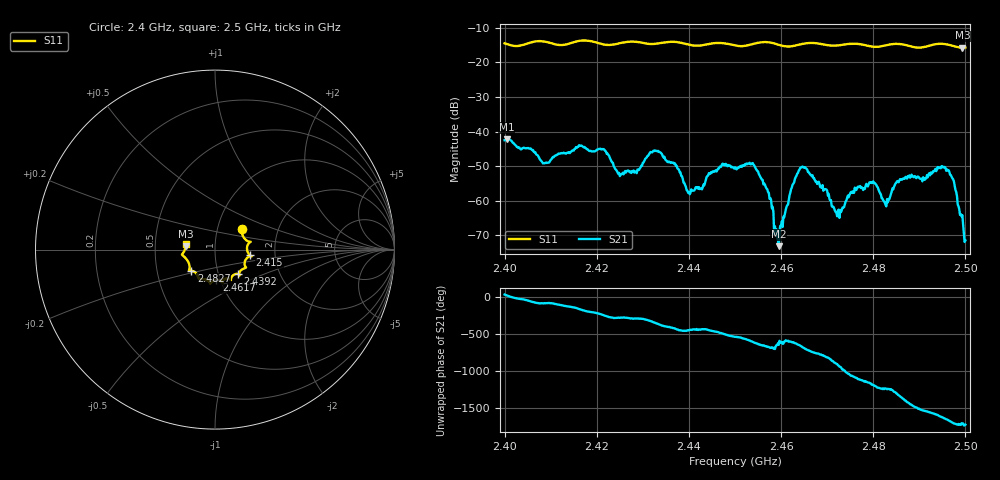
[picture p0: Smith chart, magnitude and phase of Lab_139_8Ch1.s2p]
# Hz S RI R 50
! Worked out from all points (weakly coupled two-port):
!   601 points, 2.4 GHz to 2.5 GHz, reference 50 ohm
!   highest |S21| = -42.20 dB at 2.4005 GHz (marker M1); lowest = -73.1 dB at 2.4595 GHz (marker M2)
!   lowest |S11| = -15.7 dB at 2.4993 GHz (marker M3), VSWR 1.39, Z = 36 + j1.45 ohm
!   |S11| at or under -10 dB: start of sweep to end of sweep
!   S12 and S22 are empty: the file has one direction only
!   S11 on the Smith chart (normalised r, x): 2.4 GHz: 1.31, +0.31; 2.415 GHz: 1.48, -0.10; 2.4392 GHz: 1.24, -0.35; 2.4617 GHz: 0.96, -0.34; 2.4827 GHz: 0.75, -0.18; 2.5 GHz: 0.72, +0.05
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2.4e9  0.1502 0.1149  0.0065 0.00375  0 0  0 0
2.4005e9  0.1499 0.1082  0.00738 0.0024  0 0  0 0
2.408667e9  0.1964 0.0424  0.00025 -0.00348  0 0  0 0
2.415e9  0.1937 -0.0316  -0.00429 -0.00313  0 0  0 0
2.416667e9  0.2038 -0.0383  -0.00628 -0.000432  0 0  0 0
2.425333e9  0.1679 -0.0931  0.000483 0.00238  0 0  0 0
2.433333e9  0.1361 -0.1307  0.00519 -0.000848  0 0  0 0
2.439167e9  0.1277 -0.1356  -0.000308 -0.00166  0 0  0 0
2.45e9  0.0714 -0.1614  -0.00304 0.00015  0 0  0 0
2.454333e9  0.0395 -0.1843  -0.00027 0.00307  0 0  0 0
2.4595e9  0.0347 -0.1766  7.51e-05 0.000207  0 0  0 0
2.461667e9  0.00835 -0.1698  -0.000371 0.000958  0 0  0 0
2.464333e9  -0.0221 -0.1824  0.00192 0.00234  0 0  0 0
2.466667e9  -0.0269 -0.1897  0.00203 -0.000991  0 0  0 0
2.472167e9  -0.0617 -0.1646  -0.000584 0.000124  0 0  0 0
2.479667e9  -0.1021 -0.1359  -0.000633 -0.00169  0 0  0 0
2.482667e9  -0.1318 -0.1176  -0.000832 -0.000282  0 0  0 0
2.483333e9  -0.1376 -0.117  -0.00104 -0.000217  0 0  0 0
2.495167e9  -0.1838 -0.0267  -0.0029 0.000878  0 0  0 0
2.497333e9  -0.1726 -0.0113  -3.94e-05 0.00205  0 0  0 0
2.499333e9  -0.1625 0.0195  9.24e-05 0.000614  0 0  0 0
2.5e9  -0.1621 0.0317  9.75e-05 0.000248  0 0  0 0
